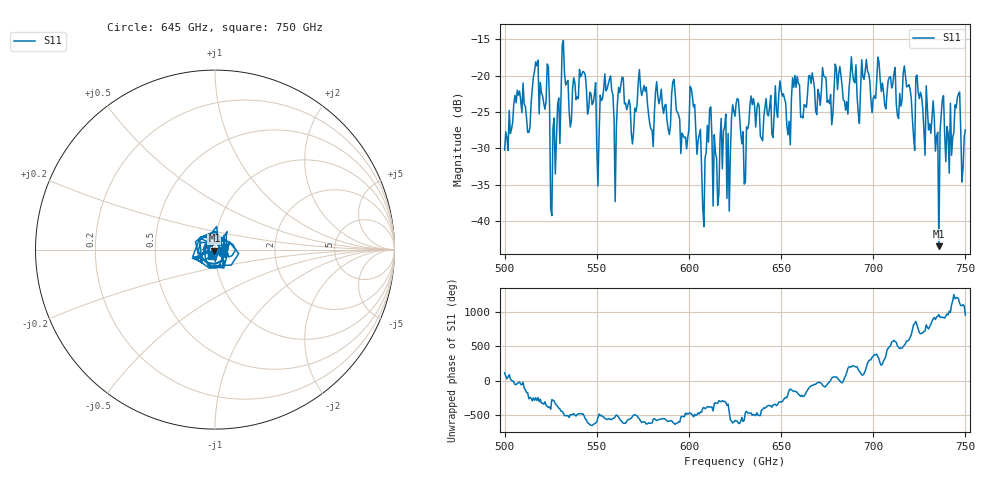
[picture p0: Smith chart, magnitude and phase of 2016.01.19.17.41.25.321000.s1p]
!Created with skrf (http://scikit-rf.org).
# GHz S RI R 50.0
!freq ReS11 ImS11
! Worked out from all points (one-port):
!   401 points, 500 GHz to 750 GHz, reference 50 ohm
!   lowest |S11| = -43.4 dB at 735.6 GHz (marker M1), VSWR 1.01, Z = 49.7 - j0.587 ohm
!   |S11| at or under -10 dB: start of sweep to end of sweep
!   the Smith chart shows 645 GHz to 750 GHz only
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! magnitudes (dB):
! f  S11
! 500 GHz  -30.2
! 506.9 GHz  -22.0
! 513.1 GHz  -27.8
! 516.9 GHz  -18.1
! 523.1 GHz  -18.4
! 526.2 GHz  -27.1
! 531.2 GHz  -15.7
! 542.5 GHz  -19.4
! 551.2 GHz  -28.3
! 553.1 GHz  -23.1
! 562.5 GHz  -22.3
! 593.8 GHz  -25.0
! 598.1 GHz  -28.4
! 601.9 GHz  -22.8
! 608.1 GHz  -40.7
! 611.2 GHz  -24.5
! 614.4 GHz  -30.5
! 618.8 GHz  -27.6
! 621.9 GHz  -38.6
! 625 GHz  -25.6
! 629.4 GHz  -27.7
! 634.4 GHz  -24.0
! 656.2 GHz  -20.3
! 687.5 GHz  -20.0
! 718.8 GHz  -21.5
! 735.6 GHz  -43.4
! 745.6 GHz  -23.0
! 750 GHz  -27.5
